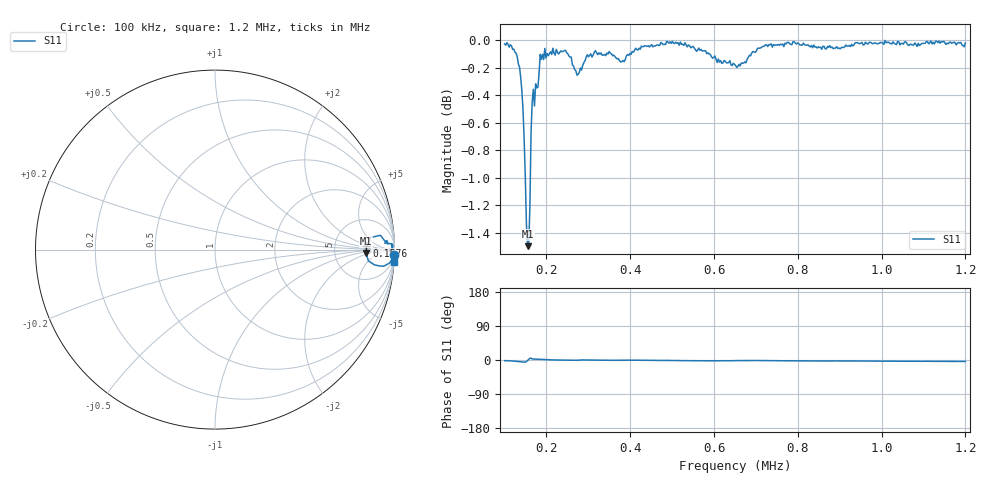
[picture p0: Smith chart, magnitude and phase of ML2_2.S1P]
!Agilent Technologies,E5071C,MY46100265,A.07.02
!Date: Wed Mar 04 14:21:39 2020
!Data & Calibration Information:
!Freq	S11:SOLT1(ON)
# Hz S RI R 50
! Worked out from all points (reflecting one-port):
!   402 points, 100 kHz to 1.2 MHz, reference 50 ohm
!   lowest |S11| = -1.5 dB at 154.9 kHz (marker M1), VSWR 11.63, Z = 571 - j77.3 ohm
!   phase of S11 starts at -2 deg and turns -2 deg over the sweep
!   S11 on the Smith chart (normalised r, x): 100 kHz: 6, -64; 157.6 kHz: 12, +2; 1.2 MHz: 1, -29
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100000  0.9964 -0.031
113716  0.9955 -0.0379
130175  0.9843 -0.06
138404  0.9661 -0.0785
143890  0.9394 -0.0928
146633  0.9163 -0.0911
149377  0.8878 -0.0847
154863  0.8414 -0.0197
157606  0.8432 0.0208
163092  0.9219 0.0796
168579  0.9584 0.0504
187781  0.9838 0.0261
206983  0.9888 0.0106
239900  0.9907 -0.00493
259102  0.9858 -0.0151
272818  0.971 -0.00918
283791  0.9754 0.000647
319451  0.9897 -0.00533
377057  0.9818 -0.00898
393516  0.9879 -0.00391
514214  0.9976 -0.0245
588279  0.9878 -0.0356
651372  0.9786 -0.0292
684289  0.9871 -0.0219
788529  0.998 -0.0374
925686  0.9935 -0.0468
1062843  0.9944 -0.0576
1200000  0.9953 -0.0678
